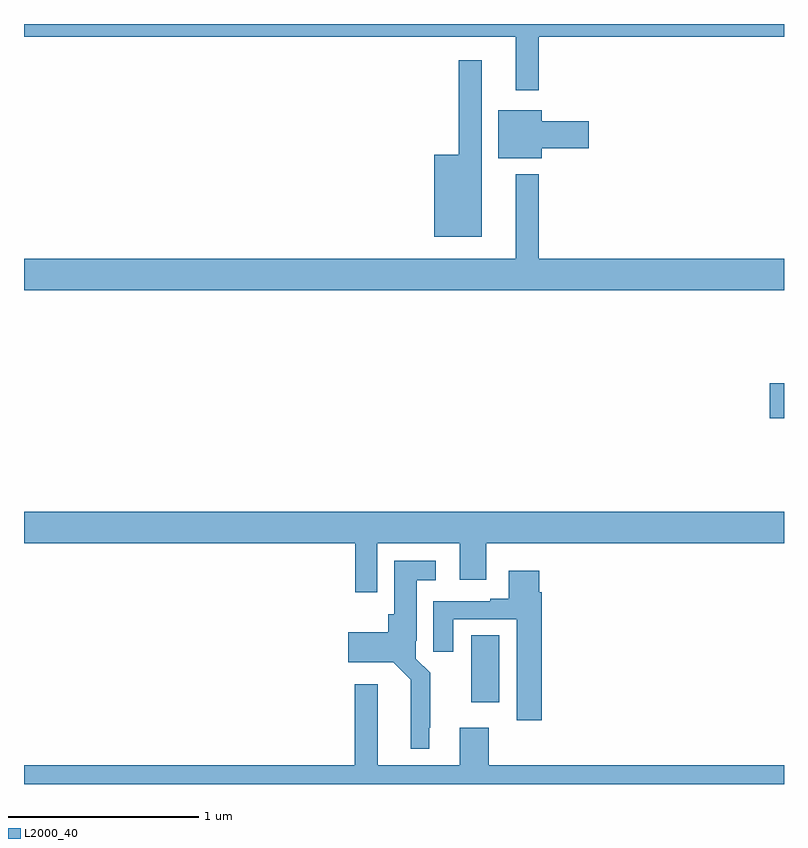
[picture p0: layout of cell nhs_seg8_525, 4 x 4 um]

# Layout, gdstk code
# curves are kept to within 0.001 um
import gdstk
lib = gdstk.Library(unit=1e-6, precision=1e-09)
def R(c, l, rs):  # rectangles x0, y0, x1, y1
    for r in rs: c.add(gdstk.rectangle(r[:2], r[2:], *l))
def P(c, l, *ps):  # polygons
    for p in ps: c.add(gdstk.Polygon(p, *l))
L2000_40 = (2000, 40)

nhs_seg8_525 = lib.new_cell('nhs_seg8_525')
R(nhs_seg8_525, L2000_40, [(147.353,1114.329,147.502,1114.682), (148.926,1115.825,149,1116.008)])
P(nhs_seg8_525, L2000_40, [(147.709,1117.832),(149,1117.832),(149,1117.9),(145,1117.9),(145,1117.832),(147.587,1117.832),(147.587,1117.551),(147.709,1117.551)],
  [(147.409,1117.708),(147.288,1117.708),(147.288,1117.213),(147.158,1117.213),(147.158,1116.779),(147.409,1116.779)],
  [(147.724,1117.247),(147.973,1117.247),(147.973,1117.389),(147.724,1117.389),(147.724,1117.447),(147.497,1117.447),(147.497,1117.193),(147.724,1117.193)],
  [(149,1116.664),(147.709,1116.664),(147.709,1117.108),(147.587,1117.108),(147.587,1116.664),(145,1116.664),(145,1116.5),(149,1116.5)],
  [(146.859,1115.168),(147.293,1115.168),(147.293,1114.974),(147.433,1114.974),(147.433,1115.168),(149,1115.168),(149,1115.332),(145,1115.332),(145,1115.168),(146.743,1115.168),(146.743,1114.908),(146.859,1114.908)],
  [(147.133,1114.195),(147.137,1114.195),(147.137,1114.486),(147.063,1114.56),(147.063,1114.654),(147.067,1114.654),(147.067,1114.973),(147.166,1114.973),(147.166,1115.074),(146.948,1115.074),(146.948,1114.794),(146.918,1114.794),(146.918,1114.699),(146.706,1114.699),(146.706,1114.541),(146.943,1114.541),(147.036,1114.448),(147.035,1114.085),(147.133,1114.085)],
  [(147.725,1114.91),(147.712,1114.91),(147.712,1115.023),(147.551,1115.023),(147.551,1114.876),(147.455,1114.876),(147.455,1114.863),(147.155,1114.863),(147.155,1114.596),(147.259,1114.596),(147.259,1114.767),(147.593,1114.767),(147.593,1114.236),(147.725,1114.236)],
  [(149,1114),(147.446,1114),(147.446,1114.195),(147.293,1114.195),(147.293,1114),(146.863,1114),(146.863,1114.426),(146.741,1114.426),(146.741,1114),(145,1114),(145,1113.9),(149,1113.9)])

lib.write_gds('nhs_seg8_525.gds')
